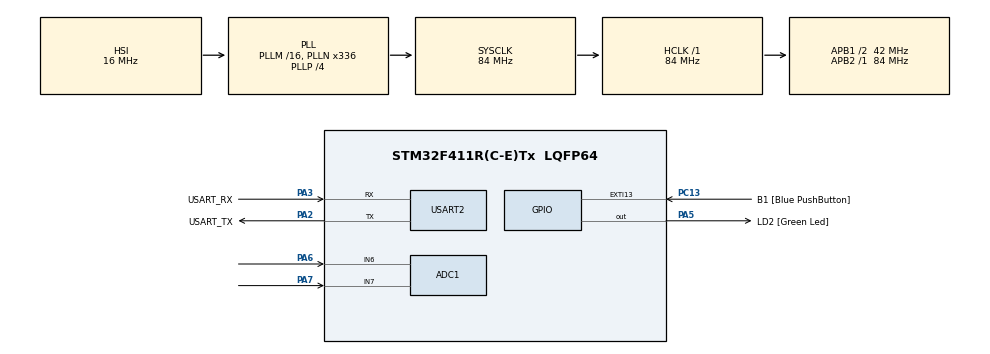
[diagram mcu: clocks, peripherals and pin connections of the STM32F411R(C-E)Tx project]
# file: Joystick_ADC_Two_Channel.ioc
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ADC1.Channel-0\#ChannelRegularConversion=ADC_CHANNEL_6
ADC1.Channel-1\#ChannelRegularConversion=ADC_CHANNEL_7
ADC1.DiscontinuousConvMode=ENABLE
ADC1.NbrOfConversion=2
ADC1.NbrOfConversionFlag=1
ADC1.Rank-0\#ChannelRegularConversion=1
ADC1.Rank-1\#ChannelRegularConversion=2
ADC1.SamplingTime-0\#ChannelRegularConversion=ADC_SAMPLETIME_144CYCLES
ADC1.SamplingTime-1\#ChannelRegularConversion=ADC_SAMPLETIME_144CYCLES
ADC1.master=1
Mcu.Family=STM32F4
Mcu.Name=STM32F411R(C-E)Tx
Mcu.Package=LQFP64
NVIC.PriorityGroup=NVIC_PRIORITYGROUP_0
PA13.GPIO_Label=TMS
PA13.Signal=SYS_JTMS-SWDIO
PA14.GPIO_Label=TCK
PA14.Signal=SYS_JTCK-SWCLK
PA2.GPIO_Label=USART_TX
PA2.Mode=Asynchronous
PA2.Signal=USART2_TX
PA3.GPIO_Label=USART_RX
PA3.Mode=Asynchronous
PA3.Signal=USART2_RX
PA5.GPIO_Label=LD2 [Green Led]
PA5.Signal=GPIO_Output
PA6.Signal=ADCx_IN6
PA7.Signal=ADCx_IN7
PB3.GPIO_Label=SWO
PB3.Signal=SYS_JTDO-SWO
PC13-ANTI_TAMP.GPIO_Label=B1 [Blue PushButton]
PC13-ANTI_TAMP.GPIO_ModeDefaultEXTI=GPIO_MODE_IT_FALLING
PC13-ANTI_TAMP.Signal=GPXTI13
PC14-OSC32_IN.Signal=RCC_OSC32_IN
PC15-OSC32_OUT.Signal=RCC_OSC32_OUT
PH0\ -\ OSC_IN.Signal=RCC_OSC_IN
PH1\ -\ OSC_OUT.Signal=RCC_OSC_OUT
ProjectManager.HeapSize=0x200
ProjectManager.StackSize=0x400
ProjectManager.TargetToolchain=STM32CubeIDE
RCC.48MHZClocksFreq_Value=84000000
RCC.AHBFreq_Value=84000000
RCC.APB1CLKDivider=RCC_HCLK_DIV2
RCC.APB1Freq_Value=42000000
RCC.APB1TimFreq_Value=84000000
RCC.APB2Freq_Value=84000000
RCC.APB2TimFreq_Value=84000000
RCC.CortexFreq_Value=84000000
RCC.FLatency-AdvancedSettings=FLASH_LATENCY_2
RCC.HCLKFreq_Value=84000000
RCC.HSE_VALUE=8000000
RCC.HSI_VALUE=16000000
RCC.LSE_VALUE=32768
RCC.PLLN=336
RCC.PLLP=RCC_PLLP_DIV4
RCC.SYSCLKFreq_VALUE=84000000
RCC.SYSCLKSource=RCC_SYSCLKSOURCE_PLLCLK
RCC.VCOOutputFreq_Value=336000000
SH.ADCx_IN6.0=ADC1_IN6,IN6
SH.ADCx_IN7.0=ADC1_IN7,IN7
USART2.VirtualMode=VM_ASYNC
board=NUCLEO-F411RE

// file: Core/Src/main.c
/* USER CODE BEGIN Header */
/**
  ******************************************************************************
  * @file           : main.c
  * @brief          : Main program body
  ******************************************************************************
  * @attention
  *
  * Copyright (c) 2022 STMicroelectronics.
  * All rights reserved.
  *
  * This software is licensed under terms that can be found in the LICENSE file
  * in the root directory of this software component.
  * If no LICENSE file comes with this software, it is provided AS-IS.
  *
  ******************************************************************************
  */
/* USER CODE END Header */
#include "main.h"

/* USER CODE BEGIN Includes */
#include <stdio.h>
/* USER CODE END Includes */

ADC_HandleTypeDef hadc1;

UART_HandleTypeDef huart2;

void SystemClock_Config(void);
static void MX_GPIO_Init(void);
static void MX_ADC1_Init(void);
static void MX_USART2_UART_Init(void);
/* USER CODE BEGIN PFP */
#ifdef __GNUC__
#define PUTCHAR_PROTOTYPE int __io_putchar(int ch)
#else
#define PUTCHAR_PROTOTYPE int fputc(int ch, FILE *f)
#endif

/**
 * @brief Retargets the C library printf function to the USART
 * @param None
 * @retval None
 */
PUTCHAR_PROTOTYPE{
	if (ch == '\n') HAL_UART_Transmit(&huart2, (uint8_t*)"\r", 1, 0xFFFF);
	HAL_UART_Transmit(&huart2, (uint8_t*)&ch, 1, 0xFFFF);
	return ch;
}
/* USER CODE END PFP */

int main(void)
{

  /* MCU Configuration--------------------------------------------------------*/

  /* Reset of all peripherals, Initializes the Flash interface and the Systick. */
  HAL_Init();

  /* USER CODE BEGIN Init */
  uint16_t JoyStick_XY[2] = {0,};
  /* USER CODE END Init */

  /* Configure the system clock */
  SystemClock_Config();

  /* Initialize all configured peripherals */
  MX_GPIO_Init();
  MX_ADC1_Init();
  MX_USART2_UART_Init();

  /* Infinite loop */
  while (1)
  {

    /* USER CODE BEGIN 3 */

	// ADC regular channel -> Joystick X value
	HAL_ADC_Start(&hadc1);
	HAL_ADC_PollForConversion(&hadc1, HAL_MAX_DELAY);
	JoyStick_XY[0] = HAL_ADC_GetValue(&hadc1);

	// ADC regular channel -> Joystick Y value
	HAL_ADC_Start(&hadc1);
	HAL_ADC_PollForConversion(&hadc1, HAL_MAX_DELAY);
	JoyStick_XY[1] = HAL_ADC_GetValue(&hadc1);

	// print value
	printf("X: %d, Y: %d\r\n", JoyStick_XY[0], JoyStick_XY[1]);
	HAL_Delay(10);
  }
  /* USER CODE END 3 */
}

void SystemClock_Config(void)
{
  RCC_OscInitTypeDef RCC_OscInitStruct = {0};
  RCC_ClkInitTypeDef RCC_ClkInitStruct = {0};

  /** Configure the main internal regulator output voltage
  */
  __HAL_RCC_PWR_CLK_ENABLE();
  __HAL_PWR_VOLTAGESCALING_CONFIG(PWR_REGULATOR_VOLTAGE_SCALE1);

  /** Initializes the RCC Oscillators according to the specified parameters
  * in the RCC_OscInitTypeDef structure.
  */
  RCC_OscInitStruct.OscillatorType = RCC_OSCILLATORTYPE_HSI;
  RCC_OscInitStruct.HSIState = RCC_HSI_ON;
  RCC_OscInitStruct.HSICalibrationValue = RCC_HSICALIBRATION_DEFAULT;
  RCC_OscInitStruct.PLL.PLLState = RCC_PLL_ON;
  RCC_OscInitStruct.PLL.PLLSource = RCC_PLLSOURCE_HSI;
  RCC_OscInitStruct.PLL.PLLM = 16;
  RCC_OscInitStruct.PLL.PLLN = 336;
  RCC_OscInitStruct.PLL.PLLP = RCC_PLLP_DIV4;
  RCC_OscInitStruct.PLL.PLLQ = 4;
  if (HAL_RCC_OscConfig(&RCC_OscInitStruct) != HAL_OK)
  {
    Error_Handler();
  }

  /** Initializes the CPU, AHB and APB buses clocks
  */
  RCC_ClkInitStruct.ClockType = RCC_CLOCKTYPE_HCLK|RCC_CLOCKTYPE_SYSCLK
                              |RCC_CLOCKTYPE_PCLK1|RCC_CLOCKTYPE_PCLK2;
  RCC_ClkInitStruct.SYSCLKSource = RCC_SYSCLKSOURCE_PLLCLK;
  RCC_ClkInitStruct.AHBCLKDivider = RCC_SYSCLK_DIV1;
  RCC_ClkInitStruct.APB1CLKDivider = RCC_HCLK_DIV2;
  RCC_ClkInitStruct.APB2CLKDivider = RCC_HCLK_DIV1;

  if (HAL_RCC_ClockConfig(&RCC_ClkInitStruct, FLASH_LATENCY_2) != HAL_OK)
  {
    Error_Handler();
  }
}

static void MX_ADC1_Init(void)
{

  ADC_ChannelConfTypeDef sConfig = {0};

  /** Configure the global features of the ADC (Clock, Resolution, Data Alignment and number of conversion)
  */
  hadc1.Instance = ADC1;
  hadc1.Init.ClockPrescaler = ADC_CLOCK_SYNC_PCLK_DIV4;
  hadc1.Init.Resolution = ADC_RESOLUTION_12B;
  hadc1.Init.ScanConvMode = ENABLE;
  hadc1.Init.ContinuousConvMode = DISABLE;
  hadc1.Init.DiscontinuousConvMode = ENABLE;
  hadc1.Init.NbrOfDiscConversion = 1;
  hadc1.Init.ExternalTrigConvEdge = ADC_EXTERNALTRIGCONVEDGE_NONE;
  hadc1.Init.ExternalTrigConv = ADC_SOFTWARE_START;
  hadc1.Init.DataAlign = ADC_DATAALIGN_RIGHT;
  hadc1.Init.NbrOfConversion = 2;
  hadc1.Init.DMAContinuousRequests = DISABLE;
  hadc1.Init.EOCSelection = ADC_EOC_SINGLE_CONV;
  if (HAL_ADC_Init(&hadc1) != HAL_OK)
  {
    Error_Handler();
  }

  /** Configure for the selected ADC regular channel its corresponding rank in the sequencer and its sample time.
  */
  sConfig.Channel = ADC_CHANNEL_6;
  sConfig.Rank = 1;
  sConfig.SamplingTime = ADC_SAMPLETIME_144CYCLES;
  if (HAL_ADC_ConfigChannel(&hadc1, &sConfig) != HAL_OK)
  {
    Error_Handler();
  }

  /** Configure for the selected ADC regular channel its corresponding rank in the sequencer and its sample time.
  */
  sConfig.Channel = ADC_CHANNEL_7;
  sConfig.Rank = 2;
  if (HAL_ADC_ConfigChannel(&hadc1, &sConfig) != HAL_OK)
  {
    Error_Handler();
  }

}

static void MX_USART2_UART_Init(void)
{

  huart2.Instance = USART2;
  huart2.Init.BaudRate = 115200;
  huart2.Init.WordLength = UART_WORDLENGTH_8B;
  huart2.Init.StopBits = UART_STOPBITS_1;
  huart2.Init.Parity = UART_PARITY_NONE;
  huart2.Init.Mode = UART_MODE_TX_RX;
  huart2.Init.HwFlowCtl = UART_HWCONTROL_NONE;
  huart2.Init.OverSampling = UART_OVERSAMPLING_16;
  if (HAL_UART_Init(&huart2) != HAL_OK)
  {
    Error_Handler();
  }

}

static void MX_GPIO_Init(void)
{
  GPIO_InitTypeDef GPIO_InitStruct = {0};

  /* GPIO Ports Clock Enable */
  __HAL_RCC_GPIOC_CLK_ENABLE();
  __HAL_RCC_GPIOH_CLK_ENABLE();
  __HAL_RCC_GPIOA_CLK_ENABLE();
  __HAL_RCC_GPIOB_CLK_ENABLE();

  /*Configure GPIO pin Output Level */
  HAL_GPIO_WritePin(LD2_GPIO_Port, LD2_Pin, GPIO_PIN_RESET);

  /*Configure GPIO pin : B1_Pin */
  GPIO_InitStruct.Pin = B1_Pin;
  GPIO_InitStruct.Mode = GPIO_MODE_IT_FALLING;
  GPIO_InitStruct.Pull = GPIO_NOPULL;
  HAL_GPIO_Init(B1_GPIO_Port, &GPIO_InitStruct);

  /*Configure GPIO pin : LD2_Pin */
  GPIO_InitStruct.Pin = LD2_Pin;
  GPIO_InitStruct.Mode = GPIO_MODE_OUTPUT_PP;
  GPIO_InitStruct.Pull = GPIO_NOPULL;
  GPIO_InitStruct.Speed = GPIO_SPEED_FREQ_LOW;
  HAL_GPIO_Init(LD2_GPIO_Port, &GPIO_InitStruct);

}

void Error_Handler(void)
{
  __disable_irq();
  while (1)
  {
  }
}
